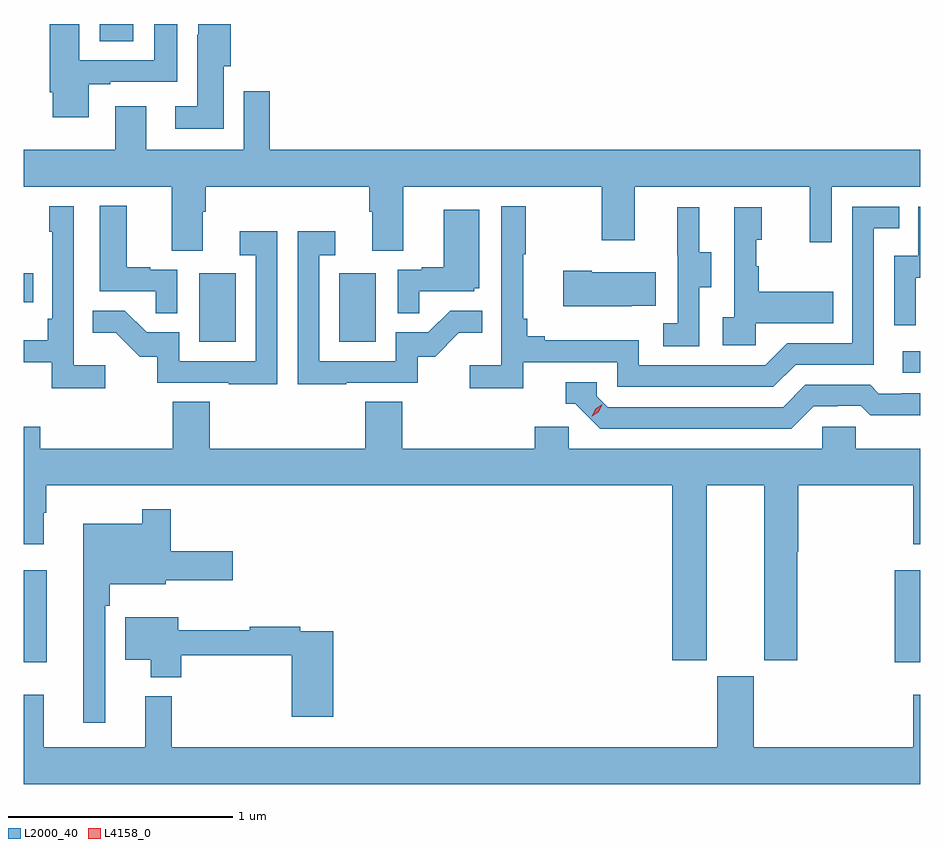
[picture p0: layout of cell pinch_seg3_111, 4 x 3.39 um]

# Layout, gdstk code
import gdstk
lib = gdstk.Library(unit=1e-6, precision=1e-09)
def R(c, l, rs):  # rectangles x0, y0, x1, y1
    for r in rs: c.add(gdstk.rectangle(r[:2], r[2:], *l))
def P(c, l, *ps):  # polygons
    for p in ps: c.add(gdstk.Polygon(p, *l))
L2000_40 = (2000, 40)
L4158_0 = (4158, 0)

pinch_seg3_111 = lib.new_cell('pinch_seg3_111')
R(pinch_seg3_111, L2000_40, [(1033.709,708.119,1033.813,708.529), (1037.594,708.119,1037.709,708.529), (1037.631,709.41,1037.709,709.506), (1034.492,709.548,1034.656,709.855), (1035.116,709.548,1035.28,709.855), (1033.709,709.724,1033.751,709.854), (1034.048,710.89,1034.197,710.966)])
P(pinch_seg3_111, L2000_40, [(1033.999,710.697),(1034.095,710.697),(1034.095,710.709),(1034.394,710.709),(1034.394,710.966),(1034.291,710.966),(1034.291,710.805),(1033.957,710.805),(1033.957,710.966),(1033.826,710.966),(1033.826,710.662),(1033.838,710.662),(1033.838,710.55),(1033.999,710.55)],
  [(1034.602,710.778),(1034.632,710.778),(1034.632,710.966),(1034.487,710.966),(1034.487,710.918),(1034.483,710.918),(1034.483,710.599),(1034.385,710.599),(1034.385,710.498),(1034.602,710.498)],
  [(1034.509,710.128),(1034.522,710.128),(1034.522,710.24),(1035.251,710.24),(1035.251,710.128),(1035.263,710.128),(1035.263,709.954),(1035.403,709.954),(1035.403,710.24),(1036.288,710.24),(1036.288,710.001),(1036.435,710.001),(1036.435,710.24),(1037.216,710.24),(1037.216,709.992),(1037.313,709.992),(1037.313,710.24),(1037.709,710.24),(1037.709,710.404),(1034.807,710.404),(1034.807,710.665),(1034.691,710.665),(1034.691,710.404),(1034.257,710.404),(1034.257,710.599),(1034.117,710.599),(1034.117,710.404),(1033.709,710.404),(1033.709,710.24),(1034.369,710.24),(1034.369,709.954),(1034.509,709.954)],
  [(1034.394,709.869),(1034.273,709.869),(1034.273,709.882),(1034.17,709.882),(1034.17,710.155),(1034.048,710.155),(1034.048,709.773),(1034.299,709.773),(1034.299,709.675),(1034.394,709.675)],
  [(1035.938,709.458),(1036.356,709.458),(1036.356,709.347),(1037.053,709.347),(1037.152,709.446),(1037.502,709.446),(1037.502,710.055),(1037.615,710.055),(1037.615,710.151),(1037.406,710.151),(1037.406,709.542),(1037.115,709.542),(1037.016,709.443),(1036.452,709.443),(1036.452,709.555),(1036.033,709.555),(1036.033,709.574),(1035.956,709.574),(1035.956,709.651),(1035.937,709.651),(1035.937,709.939),(1035.949,709.939),(1035.949,710.152),(1035.84,710.152),(1035.84,709.444),(1035.699,709.444),(1035.699,709.342),(1035.938,709.342)],
  [(1034.074,709.444),(1033.932,709.444),(1033.932,710.152),(1033.824,710.152),(1033.824,710.039),(1033.836,710.039),(1033.836,709.651),(1033.816,709.651),(1033.816,709.555),(1033.709,709.555),(1033.709,709.458),(1033.835,709.458),(1033.835,709.342),(1034.074,709.342)],
  [(1037.688,709.835),(1037.709,709.835),(1037.709,710.151),(1037.7,710.151),(1037.7,709.932),(1037.592,709.932),(1037.592,709.623),(1037.688,709.623)],
  [(1036.974,709.631),(1037.321,709.631),(1037.321,709.771),(1036.987,709.771),(1036.987,709.886),(1036.977,709.886),(1036.977,710.004),(1037.002,710.004),(1037.002,710.149),(1036.878,710.149),(1036.878,709.658),(1036.827,709.658),(1036.827,709.533),(1036.974,709.533)],
  [(1036.722,709.792),(1036.777,709.792),(1036.777,709.947),(1036.723,709.947),(1036.723,710.149),(1036.625,710.149),(1036.625,709.935),(1036.626,709.935),(1036.626,709.631),(1036.563,709.631),(1036.563,709.528),(1036.722,709.528)],
  [(1035.473,709.773),(1035.72,709.773),(1035.72,709.788),(1035.742,709.788),(1035.742,710.137),(1035.584,710.137),(1035.584,709.882),(1035.485,709.882),(1035.485,709.869),(1035.378,709.869),(1035.378,709.675),(1035.473,709.675)],
  [(1035.149,709.365),(1035.468,709.365),(1035.468,709.482),(1035.544,709.482),(1035.651,709.589),(1035.755,709.589),(1035.755,709.688),(1035.611,709.688),(1035.513,709.59),(1035.369,709.59),(1035.369,709.461),(1035.027,709.461),(1035.027,709.935),(1035.1,709.935),(1035.1,710.041),(1034.931,710.041),(1034.931,709.36),(1035.149,709.36)],
  [(1034.841,710.041),(1034.673,710.041),(1034.673,709.935),(1034.745,709.935),(1034.745,709.461),(1034.403,709.461),(1034.403,709.59),(1034.258,709.59),(1034.16,709.688),(1034.017,709.688),(1034.017,709.589),(1034.121,709.589),(1034.228,709.482),(1034.305,709.482),(1034.305,709.365),(1034.623,709.365),(1034.623,709.36),(1034.841,709.36)],
  [(1036.421,709.709),(1036.529,709.709),(1036.529,709.858),(1036.243,709.858),(1036.243,709.866),(1036.115,709.866),(1036.115,709.706),(1036.421,709.706)],
  [(1037.233,709.26),(1037.34,709.26),(1037.34,709.263),(1037.443,709.263),(1037.485,709.221),(1037.709,709.221),(1037.709,709.32),(1037.623,709.32),(1037.623,709.317),(1037.524,709.317),(1037.485,709.356),(1037.196,709.356),(1037.097,709.257),(1036.314,709.257),(1036.266,709.305),(1036.266,709.368),(1036.127,709.368),(1036.127,709.272),(1036.17,709.272),(1036.281,709.161),(1037.134,709.161)],
  [(1036.756,708.908),(1037.012,708.908),(1037.012,708.129),(1037.16,708.129),(1037.16,708.612),(1037.165,708.612),(1037.165,708.908),(1037.677,708.908),(1037.677,708.645),(1037.709,708.645),(1037.709,709.072),(1037.421,709.072),(1037.421,709.17),(1037.271,709.17),(1037.271,709.072),(1036.14,709.072),(1036.14,709.17),(1035.989,709.17),(1035.989,709.072),(1035.398,709.072),(1035.398,709.28),(1035.233,709.28),(1035.233,709.072),(1034.54,709.072),(1034.54,709.28),(1034.375,709.28),(1034.375,709.072),(1033.784,709.072),(1033.784,709.17),(1033.709,709.17),(1033.709,708.645),(1033.798,708.645),(1033.798,708.785),(1033.81,708.785),(1033.81,708.908),(1036.603,708.908),(1036.603,708.129),(1036.756,708.129)],
  [(1034.073,708.371),(1034.093,708.371),(1034.093,708.467),(1034.343,708.467),(1034.343,708.485),(1034.641,708.485),(1034.641,708.615),(1034.366,708.615),(1034.366,708.802),(1034.238,708.802),(1034.238,708.736),(1033.976,708.736),(1033.976,707.85),(1034.073,707.85)],
  [(1035.089,708.258),(1034.942,708.258),(1034.942,708.278),(1034.718,708.278),(1034.718,708.261),(1034.398,708.261),(1034.398,708.319),(1034.162,708.319),(1034.162,708.131),(1034.276,708.131),(1034.276,708.053),(1034.411,708.053),(1034.411,708.15),(1034.906,708.15),(1034.906,707.877),(1035.089,707.877)],
  [(1037.709,707.974),(1037.677,707.974),(1037.677,707.74),(1036.966,707.74),(1036.966,708.057),(1036.802,708.057),(1036.802,707.74),(1034.369,707.74),(1034.369,707.968),(1034.252,707.968),(1034.252,707.74),(1033.799,707.74),(1033.799,707.974),(1033.709,707.974),(1033.709,707.576),(1037.709,707.576)])
P(pinch_seg3_111, L4158_0, [(1036.244,709.217),(1036.244,709.217),(1036.26,709.25),(1036.291,709.271),(1036.291,709.271),(1036.291,709.27),(1036.275,709.237),(1036.245,709.217)])

lib.write_gds('pinch_seg3_111.gds')
